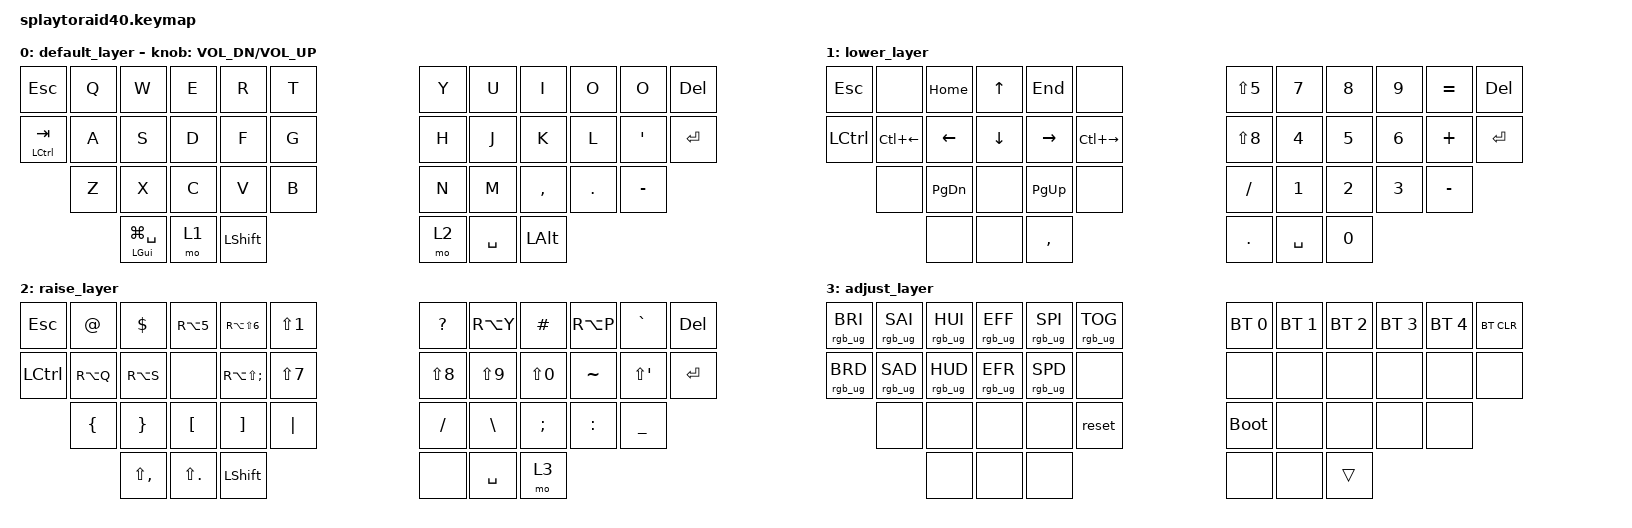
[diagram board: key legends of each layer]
/*
 * Copyright (c) 2021 The ZMK Contributors
 *
 * SPDX-License-Identifier: MIT
 */

#include <behaviors.dtsi>
#include <dt-bindings/zmk/keys.h>
#include <dt-bindings/zmk/bt.h>
#include <dt-bindings/zmk/rgb.h>
#include <dt-bindings/zmk/outputs.h>

#define nubs NON_US_BSLH
#define sqot SINGLE_QUOTE

&mt     {
        retro-tap;
         };

&sl     {
         release-after-ms = <150>;
         };

//&kscan {
//         debounce-period = <10>;
//        };

/ {
        combos {
                compatible = "zmk,combos";
                combo_bksp {
                        timeout-ms = <30>;
                        key-positions = <19 20>;
                        bindings = <&kp BACKSPACE>;
                };
                combo_backwards_del {
                        timeout-ms = <45>;
                        key-positions = <19 20 21>;
                        bindings = <&kp LC(BACKSPACE)>;
                };
                combo_capslock {
                        timeout-ms = <50>;
                        key-positions = <16 19>;
                        bindings = <&kp CAPSLOCK>;
                };
                combo_tab {
                        timeout-ms = <50>;
                        key-positions = <15 16>;
                        bindings = <&kp TAB>;
                };
                combo_adj {
                        timeout-ms = <50>;
                        key-positions = <37 39>;
                        bindings = <&mo 4>;
                };
        };

        keymap {
                compatible = "zmk,keymap";

                default_layer {
//          -----------------------------------------               -----------------------------------------
// ---------|   Q   |   W   |   E   |   R   |   T   |     split     |   Y   |   U   |   I   |   O   |   P   |---------
// |  ESC   |----------------------------------------               ----------------------------------------|   DEL  |
// ---------|   A   |   S   |   D   |   F   |   G   |     split     |   H   |   J   |   K   |   L   |   '   |---------
// |  CTRL  |----------------------------------------               ----------------------------------------|   RET  |
// ---------|   Z   |   X   |   C   |   V   |   B   |     split     |   N   |   M   |   ,   |   .   |   -   |---------
//          -----------------------------------------               -----------------------------------------
//                          |  LGUI | LOWER | LSHFT |     split     | RAISE |  SPC  |  LALT |
//                          -------------------------               -------------------------
      bindings = <
    &kp ESC       &kp Q  &kp W   &kp E    &kp R  &kp T      /*split*/  &kp Y  &kp U   &kp I     &kp O   &kp O   &kp DEL
    &mt LCTRL TAB &kp A  &kp S   &kp D    &kp F  &kp G      /*split*/  &kp H  &kp J   &kp K     &kp L   &kp SQT &kp RET
                  &kp Z  &kp X   &kp C    &kp V  &kp B      /*split*/  &kp N  &kp M   &kp COMMA &kp DOT &kp MINUS 
                       &mt LGUI LG(SPACE) &mo 1  &kp LSHFT  /*split*/  &mo 2  &kp SPACE &kp LALT

                        >;
                sensor-bindings = <&inc_dec_kp C_VOL_DN C_VOL_UP>;
                };

                lower_layer {
//          -----------------------------------------               ----------------------------------------- 
// ---------|       |  HOME |   UP  |  END  |       |     split     |   %   |   7   |   8   |   9   |   =   |---------
// |  ESC   |----------------------------------------               ----------------------------------------|   DEL  |
// ---------| C LEFT|  LEFT | DOWN  | RIGHT |C RIGHT|     split     |   *   |   4   |   5   |   6   |   +   |---------
// |  CTRL  |----------------------------------------               ----------------------------------------|   RET  |
// ---------|       |  PGDN |       |  PGUP |       |     split     |   /   |   1   |   2   |   3   |   -   |---------
//          -----------------------------------------               -----------------------------------------
//                          |       |       |   ,   |     split     |   .   |  SPC  |   0   |
//                          -------------------------               -------------------------
      bindings = <
    &kp ESC   &none        &kp HOME  &kp UP   &kp END   &none         /*split*/   &kp LS(N5) &kp N7 &kp N8 &kp N9 &kp EQUAL  &kp DEL
    &kp LCTRL &kp LC(LEFT) &kp LEFT  &kp DOWN &kp RIGHT &kp LC(RIGHT) /*split*/   &kp LS(N8) &kp N4 &kp N5 &kp N6 &kp PLUS   &kp RET
              &none        &kp PG_DN &none    &kp PG_UP &none         /*split*/   &kp SLASH  &kp N1 &kp N2 &kp N3 &kp MINUS 
                                     &none    &none     &kp COMMA     /*split*/   &kp DOT    &kp SPACE &kp N0 

                        >;

                };

                raise_layer {
//          -----------------------------------------               -----------------------------------------
// ---------|   @   |   $   |   €   |   ^   |   !   |     split     |   ?   |   ü   |   #   |   ö   |   `   |---------
// |  ESC   |----------------------------------------               ----------------------------------------|   DEL  |
// ---------|   ä   |   ß   |       |   °   |   &   |     split     |   *   |   (   |   )   |   ~   |   "   |---------
// |  CTRL  |----------------------------------------               ----------------------------------------|   RET  |
// ---------|   {   |   }   |   [   |   ]   |   |   |     split     |   /   |   \   |   ;   |   :   |   _   |---------
//          -----------------------------------------               -----------------------------------------
//                          |   <   |   >   | LSHIFT|     split     |       |  SPC  | ADJUST|
//                          -------------------------               -------------------------
      bindings = <
    &kp ESC   &kp AT    &kp DOLLAR &kp RA(N5)    &kp RA(LS(N6))   &kp LS(N1)   /*split*/   &kp QUESTION &kp RA(Y)  &kp HASH      &kp RA(P)  &kp GRAVE   &kp DEL
    &kp LCTRL &kp RA(Q) &kp RA(S)  &none         &kp RA(LS(SEMI)) &kp LS(N7)   /*split*/   &kp LS(N8)   &kp LS(N9) &kp LS(N0)    &kp TILDE  &kp LS(SQT) &kp RET
              &kp LBRC  &kp RBRC   &kp LBKT      &kp RBKT         &kp PIPE     /*split*/   &kp SLASH    &kp BSLH   &kp SEMICOLON &kp COLON  &kp UNDER 
                                   &kp LS(COMMA) &kp LS(DOT)      &kp LSHFT    /*split*/   &none        &kp SPACE  &mo 3

                        >;
                        
                };

                adjust_layer {
//          -----------------------------------------               -----------------------------------------
// ---------|  SAT+ |  HUE+ |  ANI+ |  SPI  |  TOG  |     split     |  BT1  |  BT2  |  BT3  |  BT4  |  BT5  |---------
// |  BRI+  |----------------------------------------               ----------------------------------------| BT CLR |
// ---------|  SAT- |  HUE- |  ANI+ |  SPD  |       |     split     |       |       |       |       |       |---------
// |  BRI-  |----------------------------------------               ----------------------------------------|        |
// ---------|       |       |       |       | RESET |     split     | BOOT  |       |       |       |       |---------
//          -----------------------------------------               -----------------------------------------
//                          |       |       |       |     split     |       |       |       |
//                          -------------------------               -------------------------
      bindings = <
    &rgb_ug RGB_BRI &rgb_ug RGB_SAI &rgb_ug RGB_HUI &rgb_ug RGB_EFF &rgb_ug RGB_SPI &rgb_ug RGB_TOG  /*split*/  &bt BT_SEL 0 &bt BT_SEL 1 &bt BT_SEL 2 &bt BT_SEL 3 &bt BT_SEL 4 &bt BT_CLR
    &rgb_ug RGB_BRD &rgb_ug RGB_SAD &rgb_ug RGB_HUD &rgb_ug RGB_EFR &rgb_ug RGB_SPD &none            /*split*/  &none        &none        &none        &none        &none        &none
                    &none           &none           &none           &none           &reset           /*split*/  &bootloader  &none        &none        &none        &none
                                                    &none           &none           &none            /*split*/  &none        &none        &trans

                        >;

                };
        };
};
